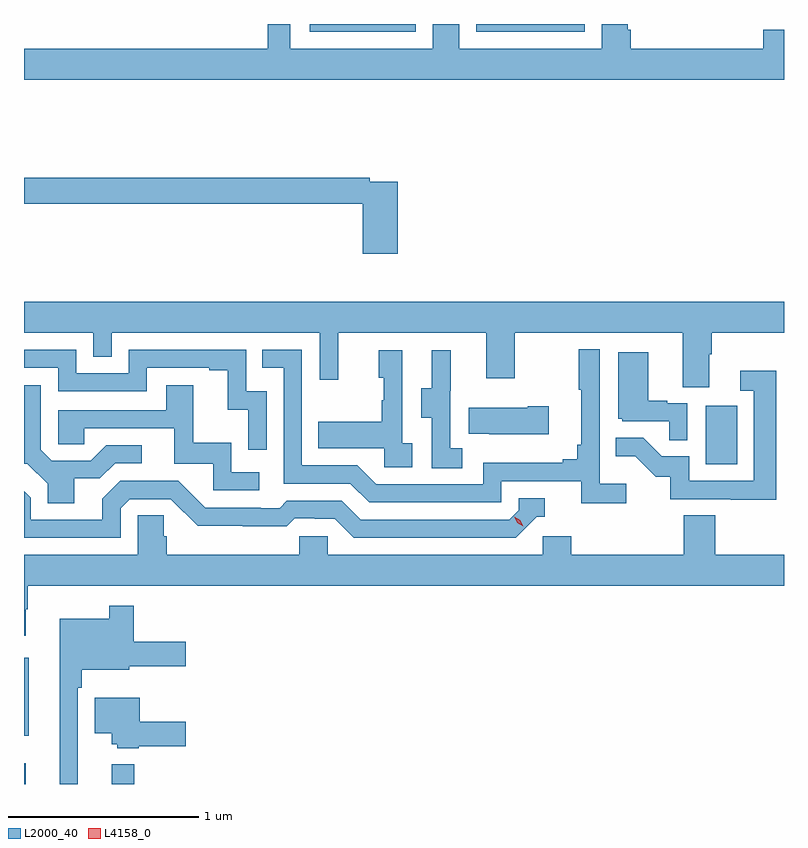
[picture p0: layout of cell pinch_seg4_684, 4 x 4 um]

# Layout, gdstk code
import gdstk
lib = gdstk.Library(unit=1e-6, precision=1e-09)
def R(c, l, rs):  # rectangles x0, y0, x1, y1
    for r in rs: c.add(gdstk.rectangle(r[:2], r[2:], *l))
def P(c, l, *ps):  # polygons
    for p in ps: c.add(gdstk.Polygon(p, *l))
L2000_40 = (2000, 40)
L4158_0 = (4158, 0)

pinch_seg4_684 = lib.new_cell('pinch_seg4_684')
R(pinch_seg4_684, L2000_40, [(1105.495,766.473,1105.505,766.582), (1105.958,766.473,1106.075,766.576), (1105.495,766.727,1105.519,767.137), (1109.084,768.156,1109.248,768.463), (1107,770.433,1107.558,770.473), (1107.876,770.433,1108.446,770.473)])
P(pinch_seg4_684, L2000_40, [(1109.495,770.442),(1109.385,770.442),(1109.385,770.344),(1108.688,770.344),(1108.688,770.442),(1108.673,770.442),(1108.673,770.473),(1108.536,770.473),(1108.536,770.344),(1107.786,770.344),(1107.786,770.473),(1107.647,770.473),(1107.647,770.344),(1106.895,770.344),(1106.895,770.471),(1106.779,770.471),(1106.779,770.344),(1105.495,770.344),(1105.495,770.18),(1109.495,770.18)],
  [(1107.461,769.644),(1107.314,769.644),(1107.314,769.664),(1105.495,769.664),(1105.495,769.528),(1107.278,769.528),(1107.278,769.263),(1107.461,769.263)],
  [(1109.101,768.736),(1109.114,768.736),(1109.114,768.848),(1109.495,768.848),(1109.495,769.012),(1105.495,769.012),(1105.495,768.848),(1105.86,768.848),(1105.86,768.721),(1105.956,768.721),(1105.956,768.848),(1107.051,768.848),(1107.051,768.6),(1107.149,768.6),(1107.149,768.848),(1107.929,768.848),(1107.929,768.609),(1108.077,768.609),(1108.077,768.848),(1108.961,768.848),(1108.961,768.562),(1109.101,768.562)],
  [(1108.666,768.052),(1108.524,768.052),(1108.524,768.76),(1108.416,768.76),(1108.416,768.547),(1108.427,768.547),(1108.427,768.259),(1108.408,768.259),(1108.408,768.182),(1108.331,768.182),(1108.331,768.163),(1107.912,768.163),(1107.912,768.051),(1107.348,768.051),(1107.249,768.15),(1106.958,768.15),(1106.958,768.759),(1106.749,768.759),(1106.749,768.663),(1106.862,768.663),(1106.862,768.054),(1107.212,768.054),(1107.311,767.955),(1108.008,767.955),(1108.008,768.066),(1108.427,768.066),(1108.427,767.95),(1108.666,767.95)],
  [(1106.772,768.54),(1106.664,768.54),(1106.664,768.759),(1106.046,768.759),(1106.046,768.636),(1105.77,768.636),(1105.77,768.759),(1105.495,768.759),(1105.495,768.663),(1105.674,768.663),(1105.674,768.54),(1106.142,768.54),(1106.142,768.663),(1106.471,768.663),(1106.471,768.651),(1106.567,768.651),(1106.567,768.443),(1106.676,768.443),(1106.676,768.231),(1106.772,768.231)],
  [(1107.802,768.239),(1107.738,768.239),(1107.738,768.543),(1107.74,768.543),(1107.74,768.757),(1107.641,768.757),(1107.641,768.555),(1107.587,768.555),(1107.587,768.4),(1107.642,768.4),(1107.642,768.136),(1107.802,768.136)],
  [(1107.538,768.266),(1107.486,768.266),(1107.486,768.757),(1107.362,768.757),(1107.362,768.612),(1107.388,768.612),(1107.388,768.494),(1107.378,768.494),(1107.378,768.379),(1107.043,768.379),(1107.043,768.239),(1107.39,768.239),(1107.39,768.141),(1107.538,768.141)],
  [(1108.986,768.477),(1108.88,768.477),(1108.88,768.49),(1108.78,768.49),(1108.78,768.745),(1108.622,768.745),(1108.622,768.396),(1108.644,768.396),(1108.644,768.381),(1108.891,768.381),(1108.891,768.283),(1108.986,768.283)],
  [(1109.453,768.649),(1109.265,768.649),(1109.265,768.543),(1109.337,768.543),(1109.337,768.069),(1108.995,768.069),(1108.995,768.198),(1108.851,768.198),(1108.753,768.296),(1108.609,768.296),(1108.609,768.197),(1108.713,768.197),(1108.82,768.09),(1108.897,768.09),(1108.897,767.973),(1109.215,767.973),(1109.215,767.968),(1109.453,767.968)],
  [(1105.759,768.082),(1105.894,768.082),(1105.974,768.162),(1106.116,768.162),(1106.116,768.255),(1105.928,768.255),(1105.847,768.174),(1105.641,768.174),(1105.584,768.231),(1105.584,768.571),(1105.495,768.571),(1105.495,768.159),(1105.512,768.159),(1105.619,768.052),(1105.619,767.95),(1105.759,767.95)],
  [(1106.734,768.114),(1106.586,768.114),(1106.586,768.268),(1106.387,768.268),(1106.387,768.571),(1106.243,768.571),(1106.243,768.441),(1105.674,768.441),(1105.674,768.261),(1105.811,768.261),(1105.811,768.345),(1106.285,768.345),(1106.285,768.159),(1106.49,768.159),(1106.49,768.018),(1106.734,768.018)],
  [(1108.258,768.462),(1108.145,768.462),(1108.145,768.454),(1107.835,768.454),(1107.835,768.317),(1107.943,768.317),(1107.943,768.314),(1108.258,768.314)],
  [(1106.004,767.925),(1106.052,767.973),(1106.268,767.973),(1106.41,767.831),(1106.646,767.831),(1106.646,767.829),(1106.879,767.829),(1106.921,767.871),(1107.024,767.871),(1107.024,767.868),(1107.131,767.868),(1107.23,767.769),(1108.083,767.769),(1108.194,767.88),(1108.237,767.88),(1108.237,767.976),(1108.098,767.976),(1108.098,767.913),(1108.05,767.865),(1107.267,767.865),(1107.168,767.964),(1106.879,767.964),(1106.84,767.925),(1106.741,767.925),(1106.741,767.928),(1106.448,767.928),(1106.307,768.069),(1106.001,768.069),(1105.907,767.975),(1105.907,767.865),(1105.53,767.865),(1105.53,767.979),(1105.495,768.014),(1105.495,767.769),(1106.004,767.769)],
  [(1105.504,767.393),(1105.516,767.393),(1105.516,767.516),(1109.495,767.516),(1109.495,767.68),(1109.132,767.68),(1109.132,767.888),(1108.967,767.888),(1108.967,767.68),(1108.376,767.68),(1108.376,767.778),(1108.224,767.778),(1108.224,767.68),(1107.093,767.68),(1107.093,767.778),(1106.943,767.778),(1106.943,767.68),(1106.246,767.68),(1106.246,767.778),(1106.231,767.778),(1106.231,767.888),(1106.094,767.888),(1106.094,767.68),(1105.495,767.68),(1105.495,767.253),(1105.504,767.253)],
  [(1105.779,766.979),(1105.799,766.979),(1105.799,767.075),(1106.049,767.075),(1106.049,767.093),(1106.347,767.093),(1106.347,767.223),(1106.072,767.223),(1106.072,767.41),(1105.944,767.41),(1105.944,767.344),(1105.682,767.344),(1105.682,766.473),(1105.779,766.473)],
  [(1106.1,766.672),(1106.347,766.672),(1106.347,766.801),(1106.104,766.801),(1106.104,766.927),(1105.868,766.927),(1105.868,766.739),(1105.958,766.739),(1105.958,766.683),(1105.986,766.683),(1105.986,766.661),(1106.1,766.661)])
P(pinch_seg4_684, L4158_0, [(1108.123,767.829),(1108.092,767.848),(1108.076,767.88),(1108.076,767.88),(1108.076,767.88),(1108.107,767.861),(1108.123,767.829),(1108.123,767.829)])

lib.write_gds('pinch_seg4_684.gds')
